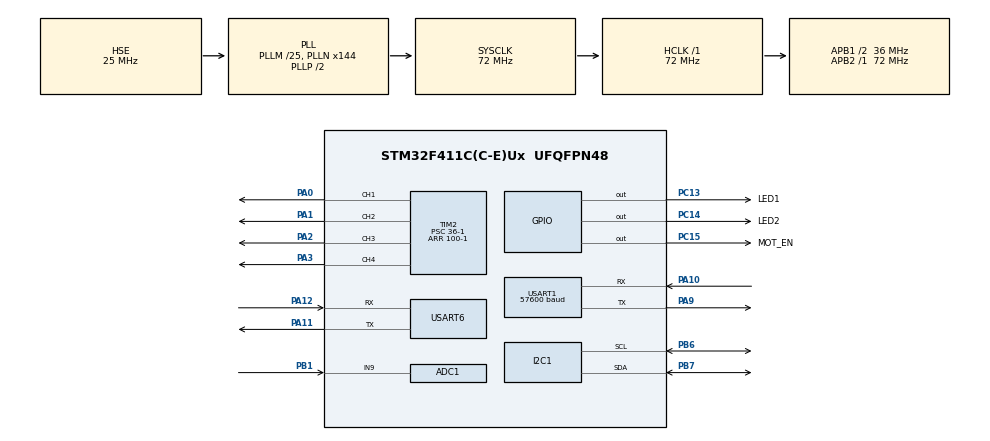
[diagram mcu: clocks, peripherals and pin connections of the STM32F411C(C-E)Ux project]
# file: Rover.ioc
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ADC1.Channel-2\#ChannelRegularConversion=ADC_CHANNEL_9
ADC1.EnableAnalogWatchDog=false
ADC1.NbrOfConversionFlag=1
ADC1.Rank-2\#ChannelRegularConversion=1
ADC1.SamplingTime-2\#ChannelRegularConversion=ADC_SAMPLETIME_3CYCLES
ADC1.master=1
I2C1.I2C_Mode=I2C_Fast
IWDG.Prescaler=IWDG_PRESCALER_256
IWDG.Reload=375
Mcu.Family=STM32F4
Mcu.Name=STM32F411C(C-E)Ux
Mcu.Package=UFQFPN48
NVIC.PriorityGroup=NVIC_PRIORITYGROUP_4
NVIC.TIM3_IRQn=true\:0\:0\:false\:false\:true\:true\:true\:true
NVIC.USART1_IRQn=true\:0\:0\:false\:false\:true\:true\:true\:true
NVIC.USART6_IRQn=true\:0\:0\:false\:false\:true\:true\:true\:true
PA0-WKUP.Signal=S_TIM2_CH1_ETR
PA1.Signal=S_TIM2_CH2
PA10.Mode=Asynchronous
PA10.Signal=USART1_RX
PA11.GPIO_PuPd=GPIO_NOPULL
PA11.Mode=Asynchronous
PA11.Signal=USART6_TX
PA12.GPIO_PuPd=GPIO_PULLUP
PA12.Mode=Asynchronous
PA12.Signal=USART6_RX
PA2.Signal=S_TIM2_CH3
PA3.Signal=S_TIM2_CH4
PA9.Mode=Asynchronous
PA9.Signal=USART1_TX
PB1.Signal=ADCx_IN9
PB6.Mode=I2C
PB6.Signal=I2C1_SCL
PB7.Mode=I2C
PB7.Signal=I2C1_SDA
PC13-ANTI_TAMP.GPIO_Label=LED1
PC13-ANTI_TAMP.Signal=GPIO_Output
PC14-OSC32_IN.GPIO_Label=LED2
PC14-OSC32_IN.Signal=GPIO_Output
PC15-OSC32_OUT.GPIO_Label=MOT_EN
PC15-OSC32_OUT.Signal=GPIO_Output
PH0\ -\ OSC_IN.Mode=HSE-External-Oscillator
PH0\ -\ OSC_IN.Signal=RCC_OSC_IN
PH1\ -\ OSC_OUT.Mode=HSE-External-Oscillator
PH1\ -\ OSC_OUT.Signal=RCC_OSC_OUT
ProjectManager.HeapSize=0x200
ProjectManager.StackSize=0x400
ProjectManager.TargetToolchain=CMake
RCC.48MHZClocksFreq_Value=36000000
RCC.AHBFreq_Value=72000000
RCC.APB1CLKDivider=RCC_HCLK_DIV2
RCC.APB1Freq_Value=36000000
RCC.APB1TimFreq_Value=72000000
RCC.APB2Freq_Value=72000000
RCC.APB2TimFreq_Value=72000000
RCC.CortexFreq_Value=72000000
RCC.HCLKFreq_Value=72000000
RCC.HSE_VALUE=25000000
RCC.HSI_VALUE=16000000
RCC.LSE_VALUE=32768
RCC.PLLM=25
RCC.PLLN=144
RCC.PLLSourceVirtual=RCC_PLLSOURCE_HSE
RCC.SYSCLKFreq_VALUE=72000000
RCC.SYSCLKSource=RCC_SYSCLKSOURCE_PLLCLK
RCC.VCOOutputFreq_Value=144000000
SH.ADCx_IN9.0=ADC1_IN9,IN9
SH.S_TIM2_CH1_ETR.0=TIM2_CH1,PWM Generation1 CH1
SH.S_TIM2_CH2.0=TIM2_CH2,PWM Generation2 CH2
SH.S_TIM2_CH3.0=TIM2_CH3,PWM Generation3 CH3
SH.S_TIM2_CH4.0=TIM2_CH4,PWM Generation4 CH4
TIM2.Channel-PWM\ Generation1\ CH1=TIM_CHANNEL_1
TIM2.Channel-PWM\ Generation2\ CH2=TIM_CHANNEL_2
TIM2.Channel-PWM\ Generation3\ CH3=TIM_CHANNEL_3
TIM2.Channel-PWM\ Generation4\ CH4=TIM_CHANNEL_4
TIM2.OCFastMode_PWM-PWM\ Generation3\ CH3=TIM_OCFAST_DISABLE
TIM2.OCMode_PWM-PWM\ Generation1\ CH1=TIM_OCMODE_PWM1
TIM2.Period=100-1
TIM2.Prescaler=36-1
TIM3.AutoReloadPreload=TIM_AUTORELOAD_PRELOAD_DISABLE
TIM3.Channel-Forced\ Output1\ CH1=TIM_CHANNEL_1
TIM3.Channel-PWM\ Generation1\ CH1=TIM_CHANNEL_1
TIM3.Period=9999
TIM3.Prescaler=7299
TIM3.TIM_MasterOutputTrigger=TIM_TRGO_RESET
USART1.BaudRate=57600
USART1.VirtualMode=VM_ASYNC
USART6.VirtualMode=VM_ASYNC
VP_IWDG_VS_IWDG.Mode=IWDG_Activate
VP_TIM2_VS_ClockSourceINT.Mode=Internal
VP_TIM3_VS_ClockSourceINT.Mode=Internal
board=custom

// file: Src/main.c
/* USER CODE BEGIN Header */
/**
 ******************************************************************************
 * @file           : main.c
 * @brief          : Main program body
 ******************************************************************************
 * @attention
 *
 * Copyright (c) 2025 STMicroelectronics.
 * All rights reserved.
 *
 * This software is licensed under terms that can be found in the LICENSE file
 * in the root directory of this software component.
 * If no LICENSE file comes with this software, it is provided AS-IS.
 *
 ******************************************************************************
 */
/* USER CODE END Header */
#include "main.h"
#include "adc.h"
#include "i2c.h"
#include "iwdg.h"
#include "tim.h"
#include "usart.h"
#include "gpio.h"

/* USER CODE BEGIN Includes */
//#include "NRF24/esp8266.h"
#include "mcutils.h"
// #include "yyjson.h"
//#include "NRF24/ESP8266.h"
#include "global_config.h"
#include "motor.h"
#include "scheduler.h"
#include "sensors.h"

/* USER CODE END Includes */

/* USER CODE BEGIN PD */
/* User Configurations */
/* USER CODE END PD */

void SystemClock_Config(void);
/* USER CODE BEGIN PFP */
void HAL_GPIO_EXTI_Callback(uint16_t GPIO_Pin);
/* USER CODE END PFP */

/* USER CODE BEGIN 0 */
extern UART_Buffers_t UART1_Buffer;
extern UART_Buffers_t UART6_Buffer;
extern I2C_HandleTypeDef hi2c1;

LSM303_RawData_t accData_raw = {0};
LSM303_RawData_t magData_raw = {0};

LSM303_Data_t accData_grav = {0};
LSM303_Data_t lsm303dlhc_data_mag_conv = {0};

LSM303_RawData_t mag_horizontal = {0};
LSM303_RawData_t magData_cal = {0};
LSM303_RawData_t accData_cal = {0};
float heading = 0.0f;

uint16_t adc_vbat_raw = 0;

volatile uint8_t send_heartbeat = 0;

void HAL_TIM_PeriodElapsedCallback(TIM_HandleTypeDef *htim) {
  if (htim->Instance == TIM3) {
    //send_heartbeat = 1;
    //HAL_GPIO_TogglePin(GPIOC, GPIO_PIN_13);
  }
}

void TEMP_MagnetometerMainLoop(void){
      if (LSM303_ReadAccRaw(&accData_raw) == LSM303DLHC_OK) {
      //printf("ACC Raw X: %d, Y: %d, Z: %d\r\n", accData_raw.x, accData_raw.y, accData_raw.z);
      LSM303_ApplyAccCalibration(&accData_raw, &accData_cal);
      //printf("ACC Calibrated X: %d, Y: %d, Z: %d\r\n", accData_cal.x, accData_cal.y, accData_cal.z);
			LSM303_ConvertAcc(&accData_grav, &accData_cal);
      //printf("ACC Conv X: %.3f, Y: %.3f, Z: %.3f\r\n", accData_grav.x, accData_grav.y, accData_grav.z);
      //printf("ACC Conv X: %.3f, Y: %.3f, Z: %.3f\r\n", accData_grav.x, accData_grav.y, accData_grav.z);
		} else {
			/* handle error */
		}
    		if (LSM303_ReadMagRaw(&magData_raw) == LSM303DLHC_OK) {
      LSM303_MagCalibrationUpdateRange(&magData_raw);
      LSM303_MagCalibrationCompute();
      LSM303_ApplyMagCalibration(&magData_raw, &magData_cal);
      heading = LSM303_GetHeadingDegrees(&magData_cal);
      printf("Calibrated heading: %0.2f deg\r\n", heading);

		} else {
			/* handle error */
		}
}
/* USER CODE END 0 */

int main(void)
{

  /* MCU Configuration--------------------------------------------------------*/

  /* Reset of all peripherals, Initializes the Flash interface and the Systick. */
  HAL_Init();

  /* Configure the system clock */
  SystemClock_Config();

  /* USER CODE BEGIN SysInit */
  HAL_Delay(100);
  /* USER CODE END SysInit */

  /* Initialize all configured peripherals */
  MX_GPIO_Init();
  MX_TIM2_Init();
  MX_USART1_UART_Init();
  MX_I2C1_Init();
  MX_USART6_UART_Init();
  MX_TIM3_Init();
  MX_ADC1_Init();
  /* USER CODE BEGIN 2 */
 // LSM303_AccInit_t lsm303dlhc_acc_init = {0};
  // LSM303_MagInit_t lsm303dlhc_mag_init = {0};

  // lsm303dlhc_acc_init.ctrl_reg1_a =
  //     LSM303DLHC_ACR1A_XEN | LSM303DLHC_ACR1A_YEN | LSM303DLHC_ACR1A_ZEN |
  //     LSM303DLHC_ACR1A_ODR30_100_HZ;
  // lsm303dlhc_acc_init.ctrl_reg4_a = LSM303DLHC_ACR4A_FS10_1MG;

  // lsm303dlhc_mag_init.op = LSM303DLHC_MAGOP_CONT;
  // lsm303dlhc_mag_init.rate = LSM303DLHC_MAGRATE_15;
  // lsm303dlhc_mag_init.gain = LSM303DLHC_MAGGAIN_1_3;
  // lsm303dlhc_mag_init.auto_range = false;

  ESP_Handler_t esp_dev;

I2C_Scan(&hi2c1);
  Motor_Init(&htim2);

  ESP_Init(&esp_dev, &huart6, &UART6_Buffer);

  esp_dev.ssid = WIFI_SSID;
  esp_dev.password = WIFI_PASS;

  HAL_UART_Receive_IT(&huart6, &esp_dev.uart_buffers->RxByte, 1);

  MAVLink_Init(&esp_dev);
  Sensors_Init();
  Scheduler_Init();

  while (  ESP_WifiStationConnect(&esp_dev) != ESP_OK) {
    DEBUG_PRINTF(DBG_ERROR, "Failed to connect, retrying...\r\n");
    HAL_GPIO_TogglePin(GPIOC, LED2_Pin);
    HAL_Delay(1000);
    HAL_GPIO_TogglePin(GPIOC, LED2_Pin);
  }

  DEBUG_PRINTF(DBG_INFO, "ESP Initialized successfully\r\n");
  DEBUG_PRINTF(DBG_VERBOSE, "RX Buffer: %s\r\n", esp_dev.rx_buffer);
  DEBUG_PRINTF(DBG_INFO, "Transmitting heartbeat\r\n");

  /* USER CODE END 2 */

  /* Infinite loop */
  /* USER CODE BEGIN WHILE */
  Scheduler_AddTask(MAVLink_SendHeartbeat, 1000);
  Scheduler_AddTask(MAVLink_SendSysStatus, 1000);    // 1Hz
  Scheduler_AddTask(MAVLink_SendVFRHud, 500);
  Scheduler_AddTask(MAVLink_SendAttitude, 500);
  Scheduler_AddTask(Sensors_Update, 50);
  MX_IWDG_Init();
  while (1)
  {
    ESP_MainLoop(&esp_dev);
    MAVLink_MainLoop();
    Rover_ApplyControlState();
    Scheduler_Run();
    HAL_IWDG_Refresh(&hiwdg);
    /* USER CODE END WHILE */

  }
}

void SystemClock_Config(void)
{
  RCC_OscInitTypeDef RCC_OscInitStruct = {0};
  RCC_ClkInitTypeDef RCC_ClkInitStruct = {0};

  /** Configure the main internal regulator output voltage
  */
  __HAL_RCC_PWR_CLK_ENABLE();
  __HAL_PWR_VOLTAGESCALING_CONFIG(PWR_REGULATOR_VOLTAGE_SCALE1);

  /** Initializes the RCC Oscillators according to the specified parameters
  * in the RCC_OscInitTypeDef structure.
  */
  RCC_OscInitStruct.OscillatorType = RCC_OSCILLATORTYPE_LSI|RCC_OSCILLATORTYPE_HSE;
  RCC_OscInitStruct.HSEState = RCC_HSE_ON;
  RCC_OscInitStruct.LSIState = RCC_LSI_ON;
  RCC_OscInitStruct.PLL.PLLState = RCC_PLL_ON;
  RCC_OscInitStruct.PLL.PLLSource = RCC_PLLSOURCE_HSE;
  RCC_OscInitStruct.PLL.PLLM = 25;
  RCC_OscInitStruct.PLL.PLLN = 144;
  RCC_OscInitStruct.PLL.PLLP = RCC_PLLP_DIV2;
  RCC_OscInitStruct.PLL.PLLQ = 4;
  if (HAL_RCC_OscConfig(&RCC_OscInitStruct) != HAL_OK)
  {
    Error_Handler();
  }

  /** Initializes the CPU, AHB and APB buses clocks
  */
  RCC_ClkInitStruct.ClockType = RCC_CLOCKTYPE_HCLK|RCC_CLOCKTYPE_SYSCLK
                              |RCC_CLOCKTYPE_PCLK1|RCC_CLOCKTYPE_PCLK2;
  RCC_ClkInitStruct.SYSCLKSource = RCC_SYSCLKSOURCE_PLLCLK;
  RCC_ClkInitStruct.AHBCLKDivider = RCC_SYSCLK_DIV1;
  RCC_ClkInitStruct.APB1CLKDivider = RCC_HCLK_DIV2;
  RCC_ClkInitStruct.APB2CLKDivider = RCC_HCLK_DIV1;

  if (HAL_RCC_ClockConfig(&RCC_ClkInitStruct, FLASH_LATENCY_2) != HAL_OK)
  {
    Error_Handler();
  }
}

/* USER CODE BEGIN 4 */
void HAL_GPIO_EXTI_Callback(uint16_t GPIO_Pin) {
  // if (GPIO_Pin == nrf.NRF24_IRQ_GPIO_PIN) {
  //   NRF24_IRQ_Handler(&nrf);
  // }
}
/* USER CODE END 4 */

void Error_Handler(void)
{
  /* USER CODE BEGIN Error_Handler_Debug */
  /* User can add his own implementation to report the HAL error return state */
  __disable_irq();
  while (1) {
    HAL_GPIO_TogglePin(GPIOC, GPIO_PIN_13);
    HAL_Delay(300);
  }
  /* USER CODE END Error_Handler_Debug */
}
#ifdef USE_FULL_ASSERT
/**
  * @brief  Reports the name of the source file and the source line number
  *         where the assert_param error has occurred.
  * @param  file: pointer to the source file name
  * @param  line: assert_param error line source number
  * @retval None
  */
void assert_failed(uint8_t *file, uint32_t line)
{
  /* USER CODE BEGIN 6 */
  /* User can add his own implementation to report the file name and line
     number,
     ex: printf("Wrong parameters value: file %s on line %d\r\n", file, line) */
  /* USER CODE END 6 */
}
#endif /* USE_FULL_ASSERT */
